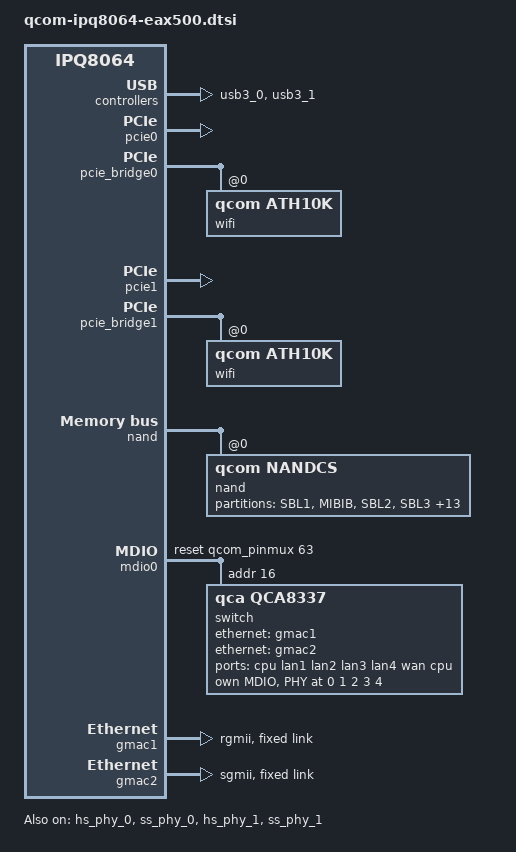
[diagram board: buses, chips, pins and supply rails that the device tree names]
// SPDX-License-Identifier: GPL-2.0-or-later OR MIT

#include "qcom-ipq8064-v2.0-smb208.dtsi"

#include <dt-bindings/input/input.h>

/ {
	chosen {
		bootargs = "console=ttyMSM0,115200n8";
		/* append to bootargs adding the root deviceblock nbr from bootloader */
		append-rootblock = "ubi.mtd=";
	};
};

&qcom_pinmux {
	/* eax500 routers reuse the pcie2 reset pin for switch reset pin */
	switch_reset: switch_reset_pins {
		mux {
			pins = "gpio63";
			function = "gpio";
			drive-strength = <12>;
			bias-pull-up;
		};
	};
};

&hs_phy_0 {
	status = "okay";
};

&ss_phy_0 {
	status = "okay";
};

&usb3_0 {
	status = "okay";
};

&hs_phy_1 {
	status = "okay";
};

&ss_phy_1 {
	status = "okay";
};

&usb3_1 {
	status = "okay";
};

&pcie0 {
	status = "okay";

	max-link-speed = <1>;
};

&pcie_bridge0 {
	wifi@0,0 {
		compatible = "qcom,ath10k";
		reg = <0x0000 0 0 0 0>;
		nvmem-cells = <&precal_art_1000>;
		nvmem-cell-names = "pre-calibration";
	};
};

&pcie1 {
	status = "okay";
};

&pcie_bridge1 {
	wifi@0,0 {
		compatible = "qcom,ath10k";
		reg = <0x0000 0 0 0 0>;
		nvmem-cells = <&precal_art_5000>;
		nvmem-cell-names = "pre-calibration";
	};
};

&nand {
	status = "okay";

	nand@0 {
		reg = <0>;
		compatible = "qcom,nandcs";

		nand-ecc-strength = <4>;
		nand-bus-width = <8>;
		nand-ecc-step-size = <512>;

		nand-is-boot-medium;
		qcom,boot-partitions = <0x0 0x0c80000>;

		partitions: partitions {
			compatible = "fixed-partitions";
			#address-cells = <1>;
			#size-cells = <1>;

			partition@0 {
				label = "SBL1";
				reg = <0x0000000 0x0040000>;
				read-only;
			};

			partition@40000 {
				label = "MIBIB";
				reg = <0x0040000 0x0140000>;
				read-only;
			};

			partition@180000 {
				label = "SBL2";
				reg = <0x0180000 0x0140000>;
				read-only;
			};

			partition@2c0000 {
				label = "SBL3";
				reg = <0x02c0000 0x0280000>;
				read-only;
			};

			partition@540000 {
				label = "DDRCONFIG";
				reg = <0x0540000 0x0120000>;
				read-only;
			};

			partition@660000 {
				label = "SSD";
				reg = <0x0660000 0x0120000>;
				read-only;
			};

			partition@780000 {
				label = "TZ";
				reg = <0x0780000 0x0280000>;
				read-only;
			};

			partition@a00000 {
				label = "RPM";
				reg = <0x0a00000 0x0280000>;
				read-only;
			};

			art: partition@c80000 {
				label = "art";
				reg = <0x0c80000 0x0140000>;
				read-only;

				nvmem-layout {
					compatible = "fixed-layout";
					#address-cells = <1>;
					#size-cells = <1>;

					precal_art_1000: pre-calibration@1000 {
						reg = <0x1000 0x2f20>;
					};

					precal_art_5000: pre-calibration@5000 {
						reg = <0x5000 0x2f20>;
					};
				};
			};

			partition@dc0000 {
				label = "APPSBL";
				reg = <0x0dc0000 0x0100000>;
				read-only;
			};

			partition@ec0000 {
				label = "u_env";
				reg = <0x0ec0000 0x0040000>;
			};

			partition@f00000 {
				label = "s_env";
				reg = <0x0f00000 0x0040000>;
			};

			partition@f40000 {
				label = "devinfo";
				reg = <0x0f40000 0x0040000>;

				nvmem-layout {
					compatible = "ascii-eq-delim-env";
					#address-cells = <1>;
					#size-cells = <1>;

					hw_mac_addr: hw_mac_addr {
						compatible = "mac-base";

						#nvmem-cell-cells = <1>;
					};
				};
			};

			partition@f80000 {
				label = "kernel1";
				reg = <0x0f80000 0x2800000>;  /* 4 MB, spill to rootfs */
			};

			partition@1380000 {
				label = "rootfs1";
				reg = <0x1380000 0x2400000>;
			};

			partition@3780000 {
				label = "kernel2";
				reg = <0x3780000 0x2800000>;
			};

			partition@3b80000 {
				label = "rootfs2";
				reg = <0x3b80000 0x2400000>;
			};
		};
	};
};

&mdio0 {
	status = "okay";

	pinctrl-0 = <&mdio0_pins>;
	pinctrl-names = "default";

	/* Switch from documentation require at least 10ms for reset */
	reset-gpios = <&qcom_pinmux 63 GPIO_ACTIVE_HIGH>;
	reset-post-delay-us = <12000>;

	switch@10 {
		compatible = "qca,qca8337";
		#address-cells = <1>;
		#size-cells = <0>;
		reg = <0x10>;

		ports {
			#address-cells = <1>;
			#size-cells = <0>;

			port@0 {
				reg = <0>;
				label = "cpu";
				ethernet = <&gmac1>;
				phy-mode = "rgmii";
				tx-internal-delay-ps = <1000>;
				rx-internal-delay-ps = <1000>;

				fixed-link {
					speed = <1000>;
					full-duplex;
				};
			};

			port@1 {
				reg = <1>;
				label = "lan1";
				phy-mode = "internal";
				phy-handle = <&phy_port1>;
			};

			port@2 {
				reg = <2>;
				label = "lan2";
				phy-mode = "internal";
				phy-handle = <&phy_port2>;
			};

			port@3 {
				reg = <3>;
				label = "lan3";
				phy-mode = "internal";
				phy-handle = <&phy_port3>;
			};

			port@4 {
				reg = <4>;
				label = "lan4";
				phy-mode = "internal";
				phy-handle = <&phy_port4>;
			};

			port@5 {
				reg = <5>;
				label = "wan";
				phy-mode = "internal";
				phy-handle = <&phy_port5>;
			};

			port@6 {
				reg = <6>;
				label = "cpu";
				ethernet = <&gmac2>;
				phy-mode = "sgmii";
				qca,sgmii-enable-pll;

				fixed-link {
					speed = <1000>;
					full-duplex;
				};
			};
		};

		mdio {
			#address-cells = <1>;
			#size-cells = <0>;

			phy_port1: phy@0 {
				reg = <0>;
			};

			phy_port2: phy@1 {
				reg = <1>;
			};

			phy_port3: phy@2 {
				reg = <2>;
			};

			phy_port4: phy@3 {
				reg = <3>;
			};

			phy_port5: phy@4 {
				reg = <4>;
			};
		};
	};
};

&gmac1 {
	status = "okay";

	phy-mode = "rgmii";
	qcom,id = <1>;

	pinctrl-0 = <&rgmii2_pins>;
	pinctrl-names = "default";

	nvmem-cells = <&hw_mac_addr 0>;
	nvmem-cell-names = "mac-address";

	fixed-link {
		speed = <1000>;
		full-duplex;
	};
};

&gmac2 {
	status = "okay";

	phy-mode = "sgmii";
	qcom,id = <2>;

	nvmem-cells = <&hw_mac_addr 1>;
	nvmem-cell-names = "mac-address";

	fixed-link {
		speed = <1000>;
		full-duplex;
	};
};

&adm_dma {
	status = "okay";
};
